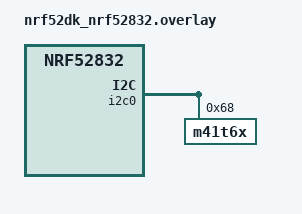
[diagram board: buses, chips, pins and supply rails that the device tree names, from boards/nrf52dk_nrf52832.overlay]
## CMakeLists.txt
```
# SPDX-License-Identifier: Apache-2.0

cmake_minimum_required(VERSION 3.20.0)
find_package(Zephyr REQUIRED HINTS $ENV{ZEPHYR_BASE})
project(st_m41t6x)

target_sources(app PRIVATE src/main.c)
```

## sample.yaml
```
sample:
  name: M41T6X RTC
```

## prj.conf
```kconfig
CONFIG_I2C=y
CONFIG_COUNTER=y
CONFIG_COUNTER_M41T6X=y
CONFIG_COUNTER_INIT_PRIORITY=65

CONFIG_LOG=y
CONFIG_COUNTER_LOG_LEVEL_DBG=y
```

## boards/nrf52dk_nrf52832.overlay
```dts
/*
 * Copyright (c) 2021 Jake Swensen
 *
 * SPDX-License-Identifier: Apache-2.0
 */

&i2c0 {
	status = "okay";
	m41t6x: m41t6x@68 {
		compatible = "m41t6x";
		reg = <0x68>;
		label = "M41T6X";
		// isw-gpios = <&gpio0 21 (GPIO_PULL_UP | GPIO_ACTIVE_LOW)>;
	};
};
```

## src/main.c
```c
/*
 * Copyright (c) 2021 Jake Swensen
 *
 * SPDX-License-Identifier: Apache-2.0
 */

#include <zephyr.h>
#include <device.h>
#include <devicetree.h>
#include <drivers/gpio.h>
#include <sys/printk.h>
#include <logging/log.h>

LOG_MODULE_REGISTER(MAIN, 3);

/* 1000 msec = 1 sec */
#define SLEEP_TIME_MS   1000

/* The devicetree node identifier for the "led0" alias. */
#define LED0_NODE DT_ALIAS(led0)

#if DT_NODE_HAS_STATUS(LED0_NODE, okay)
#define LED0	DT_GPIO_LABEL(LED0_NODE, gpios)
#define PIN	DT_GPIO_PIN(LED0_NODE, gpios)
#define FLAGS	DT_GPIO_FLAGS(LED0_NODE, gpios)
#else
/* A build error here means your board isn't set up to blink an LED. */
#error "Unsupported board: led0 devicetree alias is not defined"
#define LED0	""
#define PIN	0
#define FLAGS	0
#endif

void main(void)
{
	const struct device *led;
	const struct device *rtc;
	const char *const dev_id = DT_LABEL(DT_INST(0, m41t6x));

	bool led_is_on = true;
	int ret;

	led = device_get_binding(LED0);
	if (!led) {
		return;
	}

	rtc = device_get_binding(dev_id);
	if (!rtc) {
		printk("No device %s available\n", dev_id);
		return;
	}

	ret = gpio_pin_configure(led, PIN, GPIO_OUTPUT_ACTIVE | FLAGS);
	if (ret < 0) {
		return;
	}

	printk("Starting RTC sample.\n");
	LOG_INF("Starting RTC sample.");
	LOG_INF("Test info");

	while (1) {
		gpio_pin_set(led, PIN, (int)led_is_on);
		led_is_on = !led_is_on;
		k_msleep(SLEEP_TIME_MS);
	}
}
```
